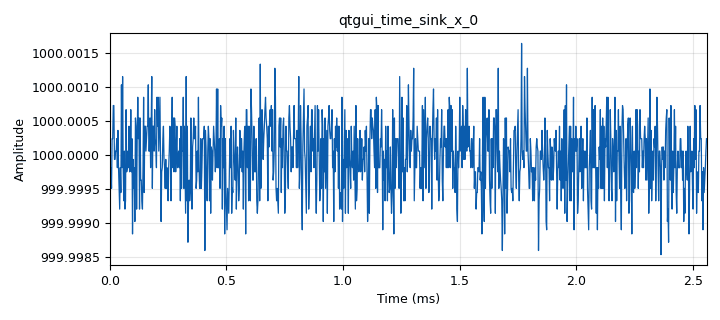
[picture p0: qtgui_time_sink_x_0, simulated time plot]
<?xml version='1.0' encoding='utf-8'?>
<?grc format='1' created='3.7.10'?>
<flow_graph>
<block>
<key>options</key>
<param><key>id</key><value>top_block</value></param>
<param><key>generate_options</key><value>qt_gui</value></param>
</block>
<block>
<key>variable</key>
<param><key>id</key><value>distance</value></param>
<param><key>value</key><value>1e3</value></param>
</block>
<block>
<key>variable</key>
<param><key>id</key><value>frequency</value></param>
<param><key>value</key><value>100e3</value></param>
</block>
<block>
<key>variable</key>
<param><key>id</key><value>processing_rate</value></param>
<param><key>value</key><value>320000</value></param>
</block>
<block>
<key>variable</key>
<param><key>id</key><value>samp_rate</value></param>
<param><key>value</key><value>frequency * 4</value></param>
</block>
<block>
<key>analog_sig_source_x</key>
<param><key>id</key><value>analog_sig_source_x_0</value></param>
<param><key>amp</key><value>1</value></param>
<param><key>freq</key><value>frequency</value></param>
<param><key>offset</key><value>0</value></param>
<param><key>type</key><value>complex</value></param>
<param><key>samp_rate</key><value>samp_rate</value></param>
<param><key>waveform</key><value>analog.GR_SIN_WAVE</value></param>
</block>
<block>
<key>blocks_throttle</key>
<param><key>id</key><value>blocks_throttle_0</value></param>
<param><key>samples_per_second</key><value>processing_rate</value></param>
<param><key>type</key><value>complex</value></param>
</block>
<block>
<key>channels_channel_model</key>
<param><key>id</key><value>channels_channel_model_0</value></param>
<param><key>epsilon</key><value>1.0</value></param>
<param><key>freq_offset</key><value>0.0</value></param>
<param><key>noise_voltage</key><value>1e-15</value></param>
<param><key>seed</key><value>5555</value></param>
<param><key>taps</key><value>1.0</value></param>
</block>
<block>
<key>epy_block</key>
<param><key>id</key><value>epy_block_0</value></param>
<param><key>_source_code</key><value>import numpy as np
import scipy.constants as spc
from gnuradio import gr


class blk(gr.sync_block):  # other base classes are basic_block, decim_block, interp_block
    """
    FTE - scales input signal appropriately for Friis Transmission Equation

        P_r = P_t * G_t * G_r * (C / (4 * PI * d * f))^2

        f -&gt; frequency in hertz
        d -&gt; distance in meters
    """

    def __init__(self, frequency=1.0, distance=1.0, g_t=1.0, g_r=1.0):
        """arguments to this function show up as parameters in GRC"""
        gr.sync_block.__init__(
            self,
            name='FTE Block',   # will show up in GRC
            in_sig=[np.complex64],
            out_sig=[np.complex64]
        )
        # if an attribute with the same name as a parameter is found,
        # a callback is registered (properties work, too).
        self.frequency = np.float64(frequency)
        self.distance = np.float64(distance)
        self.g_t = np.float64(g_t)
        self.g_r = np.float64(g_r)
	self.scale = self.fte()

    def work(self, input_items, output_items):
        """example: multiply with constant"""
        output_items[0][:] = input_items[0] * self.scale
        return len(output_items[0])

    def fte(self):
	scale = spc.c / (np.float64(4.0) * spc.pi * self.distance * self.frequency)
        scale = scale ** np.float64(2.0)
	p_r = self.g_t * self.g_r * scale
	return p_r
</value></param>
<param><key>distance</key><value>distance</value></param>
<param><key>frequency</key><value>915e6</value></param>
<param><key>g_r</key><value>1.0</value></param>
<param><key>g_t</key><value>1.0</value></param>
</block>
<block>
<key>epy_block</key>
<param><key>id</key><value>epy_block_0_0</value></param>
<param><key>_source_code</key><value>import numpy as np
import scipy.constants as spc
from gnuradio import gr


class blk(gr.sync_block):  # other base classes are basic_block, decim_block, interp_block
    """
    IFTE - calculates distance from FTE

        P_r = P_t * G_t * G_r * (C / (4 * PI * d * f))^2

        f -&gt; frequency in hertz
        d -&gt; distance in meters
    """

    def __init__(self, frequency=1.0, reference=1.0, g_t=1.0, g_r=1.0):
        """arguments to this function show up as parameters in GRC"""
        gr.sync_block.__init__(
            self,
            name='IFTE Block',   # will show up in GRC
            in_sig=[np.complex64],
            out_sig=[np.float32]
        )
        # if an attribute with the same name as a parameter is found,
        # a callback is registered (properties work, too).
        self.frequency = np.float64(frequency)
        self.reference = np.sqrt(np.float64(reference))
        self.g_t = np.float64(g_t)
        self.g_r = np.float64(g_r)
	self.scale = self.ifte()

    def work(self, input_items, output_items):
        """example: multiply with constant"""
	t = self.reference / np.sqrt(np.absolute(input_items[0]))
        output_items[0][:] = self.scale * t
        return len(output_items[0])

    def ifte(self):
	scale = spc.c * np.sqrt(self.g_t * self.g_r)
	scale = scale / (np.float64(4.0) * spc.pi * self.frequency)
	return scale
</value></param>
<param><key>frequency</key><value>915e6</value></param>
<param><key>g_r</key><value>1.0</value></param>
<param><key>g_t</key><value>1.0</value></param>
<param><key>reference</key><value>1.0</value></param>
</block>
<block>
<key>qtgui_time_sink_x</key>
<param><key>id</key><value>qtgui_time_sink_x_0</value></param>
<param><key>autoscale</key><value>True</value></param>
<param><key>color1</key><value>"blue"</value></param>
<param><key>label1</key><value></value></param>
<param><key>size</key><value>1024</value></param>
<param><key>srate</key><value>samp_rate</value></param>
<param><key>type</key><value>float</value></param>
</block>
<connection><source_block_id>analog_sig_source_x_0</source_block_id><sink_block_id>blocks_throttle_0</sink_block_id><source_key>0</source_key><sink_key>0</sink_key></connection>
<connection><source_block_id>blocks_throttle_0</source_block_id><sink_block_id>epy_block_0</sink_block_id><source_key>0</source_key><sink_key>0</sink_key></connection>
<connection><source_block_id>channels_channel_model_0</source_block_id><sink_block_id>epy_block_0_0</sink_block_id><source_key>0</source_key><sink_key>0</sink_key></connection>
<connection><source_block_id>epy_block_0</source_block_id><sink_block_id>channels_channel_model_0</sink_block_id><source_key>0</source_key><sink_key>0</sink_key></connection>
<connection><source_block_id>epy_block_0_0</source_block_id><sink_block_id>qtgui_time_sink_x_0</sink_block_id><source_key>0</source_key><sink_key>0</sink_key></connection>
</flow_graph>
